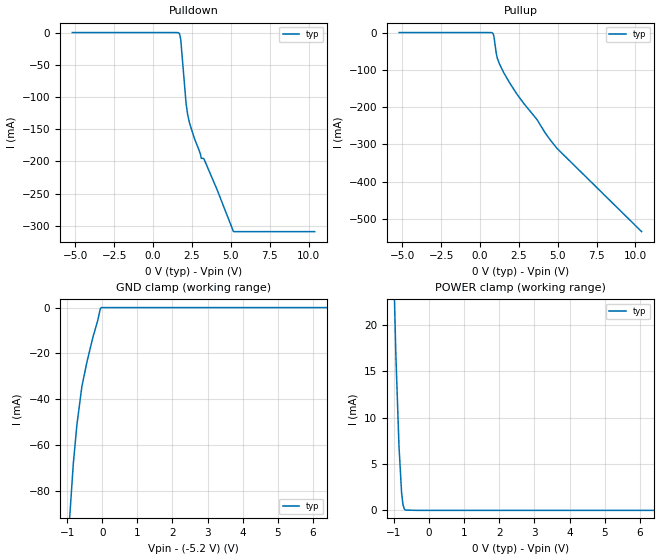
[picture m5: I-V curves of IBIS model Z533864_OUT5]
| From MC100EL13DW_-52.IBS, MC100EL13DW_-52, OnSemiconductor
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| (C) COPYRIGHT 1993-2000
| MENTOR GRAPHICS CORPORATION
| ICX STANDARD LIBRARY, ICX PROJECT MODELING,
| ICX CUSTOM MODELING, ICX VENDOR MODEL
| ALL RIGHTS RESERVED.
| THE FOLLOWING ARE TRADEMARKS OR SERVICE MARKS OF
| MENTOR GRAPHICS CORPORATION:ICX (R), ICX STANDARD
| LIBRARY(R), ICX PROJECT MODELING(R), ICX CUSTOM
| MODELING(R), qualityIBIS(TM), MODELVIEWER(TM),
| AND MODELEDITOR(TM)
| ALL COPIES OF SOFTWARE, INCLUDING BUT NOT LIMITED TO
| ANY MODIFICATIONS, ENHANCEMENTS OR DERIVATIVE WORKS,
| MUST CONTAIN ALL MENTOR GRAPHICS CORPORATION'S
| NOTICES AND LEGENDS, INCLUDING THOSE EMBEDDED IN
| SOFTWARE AND THOSE AFFIXED TO SOFTWARE MEDIUM
| AND CONTAINER, AS RECEIVED FROM MENTOR GRAPHICS
| CORPORATION.
| Model Application Version 1.89 2/18/99.
[Model] Z533864_OUT5
Model_type Output_ECL
Vref=-2.000V
Rref=50.00ohms
Cref=0.000F
Vmeas=-1.320V
C_comp 8.000pF NA NA
| variable typ   min   max
[Voltage Range] -5.200V NA NA
[POWER Clamp Reference] 0.000V NA NA
[Pullup Reference] 0.000V NA NA
[Pulldown Reference] 0.000V NA NA
[GND Clamp Reference] -5.200V NA NA
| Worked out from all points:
|   GND clamp passes 1 mA (typ) near -0.06 V on its own axis
|   POWER clamp passes 1 mA (typ) near -0.76 V on its own axis
[GND Clamp]
-5.2V     -1.065A    NA         NA
-825mV    -68mA      NA         NA
-722mV    -51mA      NA         NA
-581mV    -34.4mA    NA         NA
-435mV    -23.6mA    NA         NA
-268mV    -13mA      NA         NA
-132mV    -5.8mA     NA         NA
-62mV     -900uA     NA         NA
-43mV     -200uA     NA         NA
-21.5mV   0A         NA         NA
10.4V     0A         NA         NA
[Pulldown]
-5.2V     230.2uA    NA         NA
1.646V    -301.8uA   NA         NA
1.704V    -1.99mA    NA         NA
1.777V    -10.37mA   NA         NA
2.124V    -110.6mA   NA         NA
2.224V    -127.4mA   NA         NA
2.35V     -140.8mA   NA         NA
3.037V    -187.8mA   NA         NA
3.101V    -195.1mA   NA         NA
3.306V    -198mA     NA         NA
5.161V    -308.5mA   NA         NA
10.4V     -309.1mA   NA         NA
[Pullup]
-5.2V     174.2uA    NA         NA
808.8mV   -1.075mA   NA         NA
897mV     -10.17mA   NA         NA
1.045V    -54.86mA   NA         NA
1.113V    -68.41mA   NA         NA
1.252V    -84.12mA   NA         NA
1.529V    -107.6mA   NA         NA
2.363V    -164.3mA   NA         NA
3.667V    -233.4mA   NA         NA
4.541V    -289.3mA   NA         NA
4.957V    -310.9mA   NA         NA
10.4V     -534.3mA   NA         NA
[POWER Clamp]
-5.2V     1.157A     NA         NA
-1.035V   29.93mA    NA         NA
-948.8mV  16.81mA    NA         NA
-859.3mV  6.923mA    NA         NA
-785.9mV  1.946mA    NA         NA
-747.2mV  639.9uA    NA         NA
-703.8mV  107.1uA    NA         NA
-665mV    25.4uA     NA         NA
10.4V     0A         NA         NA
[Ramp]
| variable typ min max
dV/dt_r 479.5m/496.4p NA NA
dV/dt_f 479.5m/993.2p NA NA
R_load = 50.00Ohms
